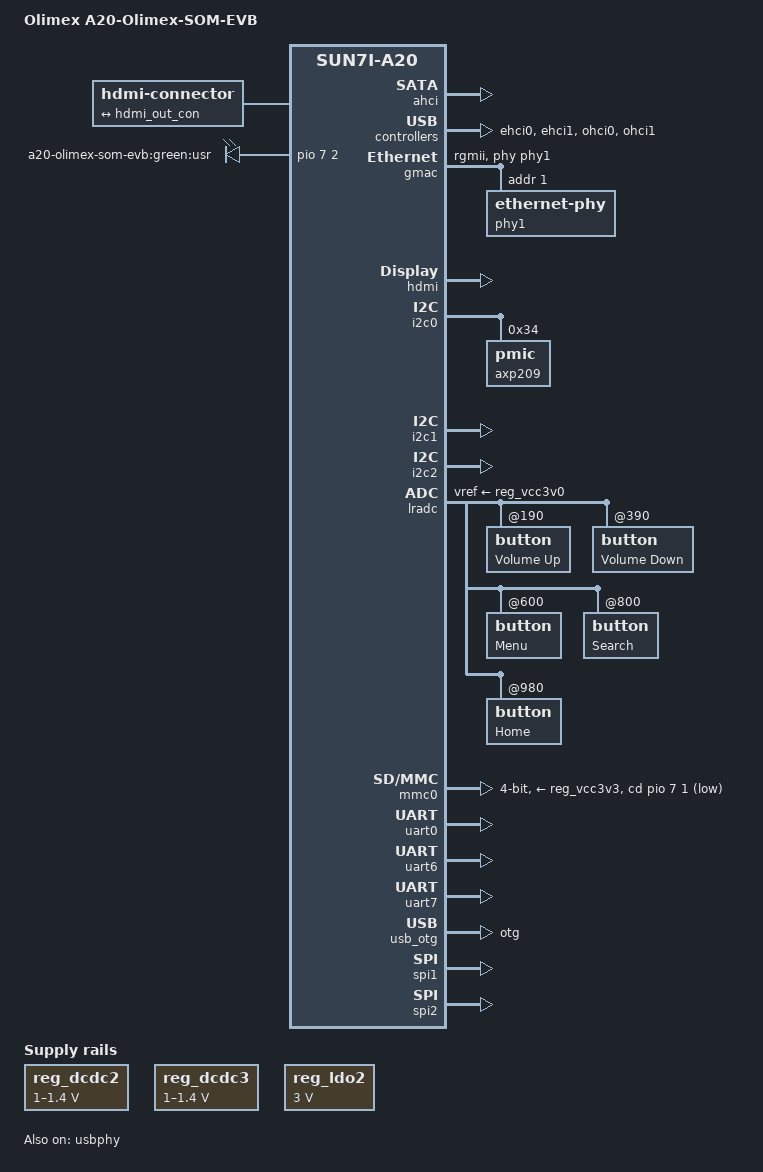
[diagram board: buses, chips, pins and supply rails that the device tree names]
/*
 * Copyright (c) 2023 Nicolas Provost <dev@npsoft.fr>
 *
 * Redistribution and use in source and binary forms, with or without
 * modification, are permitted provided that the following conditions
 * are met:
 * 1. Redistributions of source code must retain the above copyright
 *    notice, this list of conditions and the following disclaimer.
 * 2. Redistributions in binary form must reproduce the above copyright
 *    notice, this list of conditions and the following disclaimer in the
 *    documentation and/or other materials provided with the distribution.
 *
 * THIS SOFTWARE IS PROVIDED BY THE AUTHOR AND CONTRIBUTORS ``AS IS'' AND
 * ANY EXPRESS OR IMPLIED WARRANTIES, INCLUDING, BUT NOT LIMITED TO, THE
 * IMPLIED WARRANTIES OF MERCHANTABILITY AND FITNESS FOR A PARTICULAR PURPOSE
 * ARE DISCLAIMED. IN NO EVENT SHALL THE AUTHOR OR CONTRIBUTORS BE LIABLE
 * FOR ANY DIRECT, INDIRECT, INCIDENTAL, SPECIAL, EXEMPLARY, OR CONSEQUENTIAL
 * DAMAGES (INCLUDING, BUT NOT LIMITED TO, PROCUREMENT OF SUBSTITUTE GOODS
 * OR SERVICES; LOSS OF USE, DATA, OR PROFITS; OR BUSINESS INTERRUPTION)
 * HOWEVER CAUSED AND ON ANY THEORY OF LIABILITY, WHETHER IN CONTRACT, STRICT
 * LIABILITY, OR TORT (INCLUDING NEGLIGENCE OR OTHERWISE) ARISING IN ANY WAY
 * OUT OF THE USE OF THIS SOFTWARE, EVEN IF ADVISED OF THE POSSIBILITY OF
 * SUCH DAMAGE.
 */

/dts-v1/;

#include "sun7i-a20.dtsi"
#include "sunxi-common-regulators.dtsi"

#include <dt-bindings/gpio/gpio.h>
#include <dt-bindings/input/input.h>
#include <dt-bindings/interrupt-controller/irq.h>


/ {
	model = "Olimex A20-Olimex-SOM-EVB";
	compatible = "olimex,a20-olimex-som-evb", "allwinner,sun7i-a20";

	aliases {
		serial0 = &uart0;
	};

	chosen {
		stdout-path = "serial0:115200n8";
	};

	/* simple framebuffer setup by u-boot */
	screen {
		compatible = "allwinner,sun7i-a20-simplefb";
		/* DEFE, DEBE */
		reg = <0x01e00000 0x1000 0x01e60000 0x2000>;
		height = <800>;
		width = <1280>;
		stride = <5120>;
		depth = <32>;
	};

	hdmi-connector {
		compatible = "hdmi-connector";
		type = "a";

		port {
			hdmi_con_in: endpoint {
				remote-endpoint = <&hdmi_out_con>;
			};
		};
	};

	leds {
		compatible = "gpio-leds";
		pinctrl-names = "default";
		pinctrl-0 = <&led_pins_olimex_som_evb>;

		green {
			label = "a20-olimex-som-evb:green:usr";
			gpios = <&pio 7 2 GPIO_ACTIVE_HIGH>;
			default-state = "on";
		};
	};

};

&ahci {
	target-supply = <&reg_ahci_5v>;
	status = "okay";
};

&ehci0 {
	status = "okay";
};

&ehci1 {
	status = "okay";
};

&cpu0 {
	cpu-supply = <&reg_dcdc2>;
};

&gmac {
	pinctrl-names = "default";
	pinctrl-0 = <&gmac_rgmii_pins>;
	phy = <&phy1>;
	phy-mode = "rgmii";
	status = "okay";

	phy1: ethernet-phy@1 {
		reg = <1>;
	};
};

&hdmi {
	clocks = <&ccu CLK_AHB_HDMI0>, <&ccu CLK_HDMI>;
	clock-names = "ahb", "hdmi";
	status = "okay";
};

&hdmi_out {
	hdmi_out_con: endpoint {
		remote-endpoint = <&hdmi_con_in>;
	};
};

&i2c0 {
	pinctrl-names = "default";
	pinctrl-0 = <&i2c0_pins>;
	status = "okay";

	axp209: pmic@34 {
		reg = <0x34>;
		interrupt-parent = <&nmi_intc>;
		interrupts = <0 IRQ_TYPE_LEVEL_LOW>;
	};
};

&i2c1 {
	pinctrl-names = "default";
	pinctrl-0 = <&i2c1_pins>;
	status = "okay";
};

&i2c2 {
	pinctrl-names = "default";
	pinctrl-0 = <&i2c2_pins>;
	status = "okay";
};

&lradc {
	vref-supply = <&reg_vcc3v0>;
	status = "okay";

	button@190 {
		label = "Volume Up";
		linux,code = <KEY_VOLUMEUP>;
		channel = <0>;
		voltage = <190000>;
	};

	button@390 {
		label = "Volume Down";
		linux,code = <KEY_VOLUMEDOWN>;
		channel = <0>;
		voltage = <390000>;
	};

	button@600 {
		label = "Menu";
		linux,code = <KEY_MENU>;
		channel = <0>;
		voltage = <600000>;
	};

	button@800 {
		label = "Search";
		linux,code = <KEY_SEARCH>;
		channel = <0>;
		voltage = <800000>;
	};

	button@980 {
		label = "Home";
		linux,code = <KEY_HOMEPAGE>;
		channel = <0>;
		voltage = <980000>;
	};

	button@1180 {
		label = "Esc";
		linux,code = <KEY_ESC>;
		channel = <0>;
		voltage = <1180000>;
	};

	button@1400 {
		label = "Enter";
		linux,code = <KEY_ENTER>;
		channel = <0>;
		voltage = <1400000>;
	};
};

&mmc0 {
	pinctrl-names = "default";
	pinctrl-0 = <&mmc0_pins>;
	vmmc-supply = <&reg_vcc3v3>;
	bus-width = <4>;
	cd-gpios = <&pio 7 1 GPIO_ACTIVE_LOW>; /* PH1 */
	status = "okay";
};

&ohci0 {
	status = "okay";
};

&ohci1 {
	status = "okay";
};

&otg_sram {
	status = "okay";
};

&pio {
	ahci_pwr_pin_olimex_som_evb: ahci_pwr_pin@1 {
		pins = "PC3";
		function = "gpio_out";
	};

	led_pins_olimex_som_evb: led_pins@0 {
		pins = "PH2";
		function = "gpio_out";
		drive-strength = <20>;
	};

	mmc3_cd_pin_olimex_som_evb: mmc3_cd_pin@0 {
		pins = "PH0";
		function = "gpio_in";
		bias-pull-up;
	};

	usb0_id_detect_pin: usb0_id_detect_pin@0 {
		pins = "PH4";
		function = "gpio_in";
	};

	usb0_vbus_detect_pin: usb0_vbus_detect_pin@0 {
		pins = "PH5";
		function = "gpio_in";
	};
};

&reg_ahci_5v {
	pinctrl-0 = <&ahci_pwr_pin_olimex_som_evb>;
	gpio = <&pio 2 3 GPIO_ACTIVE_HIGH>;
	status = "okay";
};

#include "axp209.dtsi"

&reg_dcdc2 {
	regulator-always-on;
	regulator-min-microvolt = <1000000>;
	regulator-max-microvolt = <1400000>;
	regulator-name = "vdd-cpu";
};

&reg_dcdc3 {
	regulator-always-on;
	regulator-min-microvolt = <1000000>;
	regulator-max-microvolt = <1400000>;
	regulator-name = "vdd-int-dll";
};

&reg_ldo1 {
	regulator-name = "vdd-rtc";
};

&reg_ldo2 {
	regulator-always-on;
	regulator-min-microvolt = <3000000>;
	regulator-max-microvolt = <3000000>;
	regulator-name = "avcc";
};

&reg_usb0_vbus {
	status = "okay";
};

&reg_usb1_vbus {
	status = "okay";
};

&reg_usb2_vbus {
	status = "okay";
};

&uart0 {
	pinctrl-names = "default";
	pinctrl-0 = <&uart0_pb_pins>;
	status = "okay";
};

&uart6 {
	pinctrl-names = "default";
	pinctrl-0 = <&uart6_pa_pins>;
	status = "okay";
};

&uart7 {
	pinctrl-names = "default";
	pinctrl-0 = <&uart7_pa_pins>;
	status = "okay";
};

&usb_otg {
	dr_mode = "otg";
	status = "okay";
};

&usbphy {
	pinctrl-names = "default";
	pinctrl-0 = <&usb0_id_detect_pin>, <&usb0_vbus_detect_pin>;
	usb0_id_det-gpios = <&pio 7 4 GPIO_ACTIVE_HIGH>; /* PH04 */
	usb0_vbus_det-gpios = <&pio 7 5 GPIO_ACTIVE_HIGH>; /* PH05 */
	usb0_vbus-supply = <&reg_usb0_vbus>;
	usb1_vbus-supply = <&reg_usb1_vbus>;
	usb2_vbus-supply = <&reg_usb2_vbus>;
	status = "okay";
};

&spi1 {
	pinctrl-names = "default";
	pinctrl-0 = <&spi1_pi_pins>,
		    <&spi1_cs0_pi_pin>;
	status = "okay";
};

&spi2 {
	pinctrl-names = "default";
	pinctrl-0 = <&spi2_pc_pins>,
		    <&spi2_cs0_pc_pin>;
	status = "okay";
};
